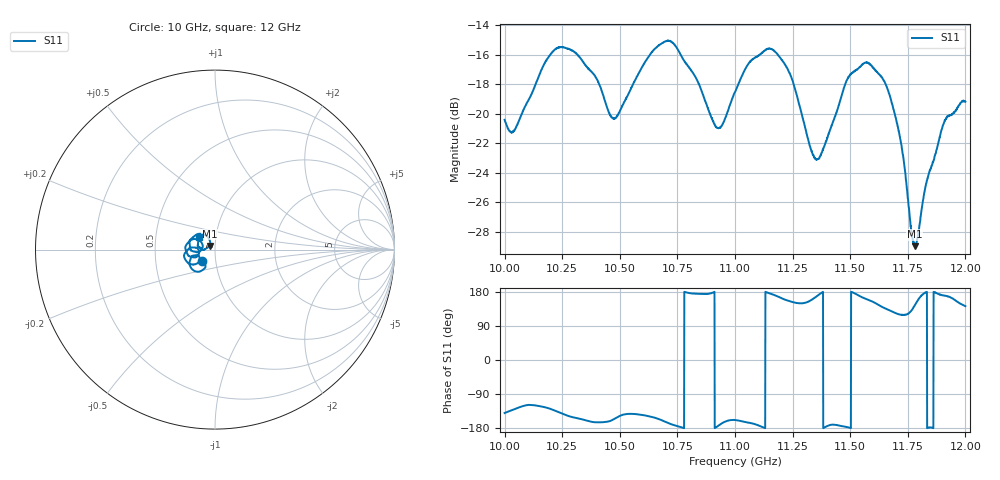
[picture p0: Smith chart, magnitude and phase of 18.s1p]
[Version] 2.0
! Rohde & Schwarz Vector Network Analyzer
! Rohde-Schwarz,ZNL20-2Port,1323001220200009,1.71.1.10-23.02.1.238
! Port Assignments:
! Nominal Port -> Actual Test Port
!  1 -> 1
! Created: GMT 2024-08-27 13:55:58
# Hz S DB R 50
[Number of Ports] 1
! freq[Hz]  S11[mag dB]  S11[ang]
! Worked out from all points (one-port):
!   2001 points, 10 GHz to 12 GHz, reference 50 ohm
!   lowest |S11| = -29.0 dB at 11.78 GHz (marker M1), VSWR 1.07, Z = 47.1 + j1.93 ohm
!   |S11| at or under -10 dB: start of sweep to end of sweep
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[Number of Frequencies] 28
[Network Data]
1e10  -20.41 -139.9
1.004e10  -21.16 -130.4
1.0178e10  -16.47 -125.1
1.025e10  -15.50 -141.5
1.0389e10  -17.37 -164.2
1.0466e10  -20.27 -158.8
1.05e10  -19.83 -147.6
1.0646e10  -15.73 -151.4
1.0709e10  -15.05 -166.2
1.075e10  -15.61 -174.6
1.0921e10  -20.96 -176.3
1.0948e10  -20.65 -165.5
1.1e10  -18.54 -158.5
1.1061e10  -16.57 -165.7
1.1145e10  -15.61 177.0
1.125e10  -17.76 152.8
1.1328e10  -22.33 157.5
1.1357e10  -23.07 169.0
1.15e10  -17.36 -179.2
1.1573e10  -16.54 160.1
1.1652e10  -17.95 136.1
1.1713e10  -21.35 120.5
1.175e10  -25.73 121.2
1.1767e10  -28.14 131.3
1.1781e10  -28.96 145.0
1.1833e10  -24.53 179.8
1.1903e10  -20.77 170.6
1.2e10  -19.19 142.0
[End]
